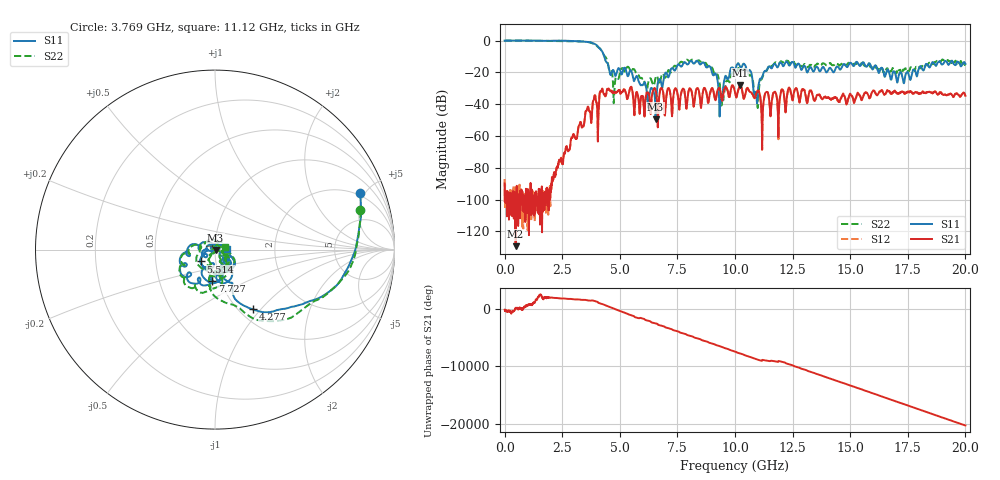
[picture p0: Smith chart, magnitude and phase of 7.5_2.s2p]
#  HZ  S  RI  R  50.00
! Rohde & Schwarz Vector Network Analyzer
! Rohde-Schwarz,ZNB20-2Port,1311601062102128,3.60
! Created: UTC 4/29/2024, 2:54:36 PM
! freq[Hz]  re:S11  im:S11  re:S21  im:S21  re:S12  im:S12  re:S22  im:S22
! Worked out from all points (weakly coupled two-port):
!   2007 points, 100 kHz to 20 GHz, reference 50 ohm
!   highest |S21| = -27.98 dB at 10.22 GHz (marker M1); lowest = -129.3 dB at 478.7 MHz (marker M2)
!   lowest |S11| = -49.6 dB at 6.55 GHz (marker M3), VSWR 1.01, Z = 50.3 - j0.176 ohm
!   |S11| at or under -10 dB: 4.326 GHz to end of sweep
!   |S22| runs from -42.4 to 0.1 dB; largest |S21 - S12| = 0.0023
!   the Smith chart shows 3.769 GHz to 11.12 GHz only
!   S11 on the Smith chart (normalised r, x): 3.769 GHz: 1.80, +4.58; 4.277 GHz: 1.15, -0.91; 5.514 GHz: 0.85, -0.11; 7.727 GHz: 0.91, -0.33; 11.12 GHz: 1.14, +0.01
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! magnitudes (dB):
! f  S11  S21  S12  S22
! 100 kHz  0.0  -89.9  -87.1  0.1
! 478.7 MHz  0.0  -129.3  -92.6  0.0
! 2.223 GHz  -0.1  -82.8  -82.9  -0.3
! 3.34 GHz  -0.6  -54.0  -53.7  -0.6
! 3.769 GHz  -1.2  -51.2  -51.5  -1.5
! 4.277 GHz  -8.1  -32.5  -32.4  -8.4
! 4.776 GHz  -20.8  -32.4  -32.4  -28.4
! 5.514 GHz  -19.7  -29.7  -29.7  -19.2
! 6.55 GHz  -49.6  -31.1  -31.1  -23.1
! 6.67 GHz  -25.5  -44.9  -44.9  -24.7
! 7.727 GHz  -15.2  -30.5  -30.6  -13.7
! 8.893 GHz  -16.1  -34.5  -34.5  -16.8
! 9.382 GHz  -38.0  -33.3  -33.3  -34.2
! 10 GHz  -18.5  -32.4  -32.5  -19.9
! 10.22 GHz  -16.3  -28.0  -28.0  -17.2
! 10.66 GHz  -18.8  -32.3  -32.3  -21.8
! 10.89 GHz  -32.5  -35.4  -35.4  -34.6
! 11.12 GHz  -23.8  -37.8  -37.8  -24.9
! 11.73 GHz  -14.6  -32.1  -32.2  -13.9
! 13.34 GHz  -18.0  -32.8  -32.8  -15.3
! 16.67 GHz  -19.1  -31.8  -31.8  -20.6
! 20 GHz  -14.6  -34.7  -34.8  -14.3
